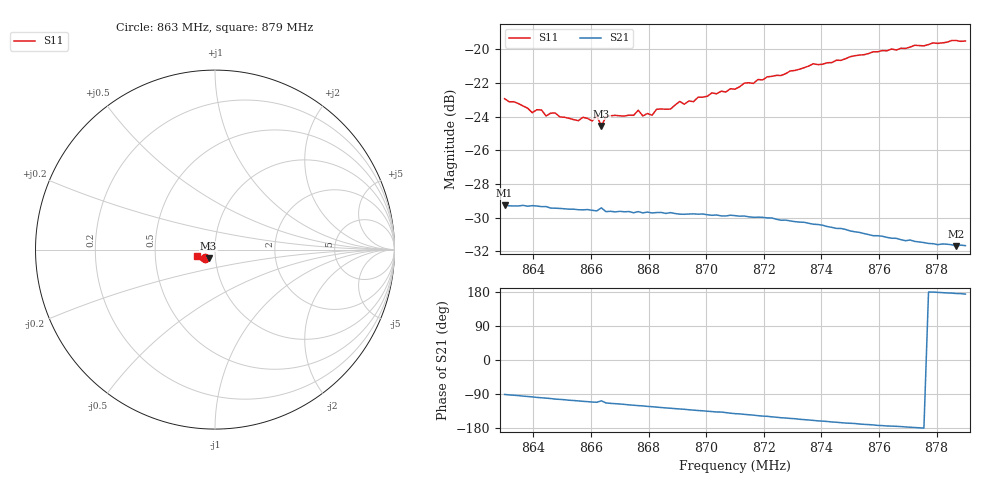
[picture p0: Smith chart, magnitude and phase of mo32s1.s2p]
# HZ S RI R 50
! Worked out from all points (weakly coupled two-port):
!   101 points, 863 MHz to 879 MHz, reference 50 ohm
!   highest |S21| = -29.26 dB at 863 MHz (marker M1); lowest = -31.7 dB at 878.68 MHz (marker M2)
!   lowest |S11| = -24.6 dB at 866.36 MHz (marker M3), VSWR 1.13, Z = 46.4 - j4.41 ohm
!   |S11| at or under -10 dB: start of sweep to end of sweep
!   S12 and S22 are empty: the file has one direction only
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8.63e8  -0.0537 -0.0469  -0.000509 -0.0344  0 0  0 0
8.6396e8  -0.0465 -0.0452  -0.00437 -0.034  0 0  0 0
8.6428e8  -0.0464 -0.047  -0.00573 -0.0336  0 0  0 0
8.6444e8  -0.046 -0.0436  -0.00629 -0.0335  0 0  0 0
8.6476e8  -0.0454 -0.046  -0.0077 -0.0328  0 0  0 0
8.6556e8  -0.0412 -0.0455  -0.0103 -0.0318  0 0  0 0
8.6572e8  -0.0416 -0.047  -0.0109 -0.0315  0 0  0 0
8.6604e8  -0.0396 -0.0467  -0.0118 -0.0311  0 0  0 0
8.662e8  -0.0414 -0.048  -0.0122 -0.0308  0 0  0 0
8.6636e8  -0.0355 -0.0473  -0.0103 -0.0322  0 0  0 0
8.6652e8  -0.0394 -0.0493  -0.013 -0.0302  0 0  0 0
8.6748e8  -0.0375 -0.0515  -0.016 -0.0285  0 0  0 0
8.6764e8  -0.0396 -0.0527  -0.0167 -0.0284  0 0  0 0
8.678e8  -0.0378 -0.0509  -0.0169 -0.028  0 0  0 0
8.6812e8  -0.0375 -0.0515  -0.0179 -0.0273  0 0  0 0
8.6844e8  -0.0394 -0.0535  -0.019 -0.0267  0 0  0 0
8.71e8  -0.0457 -0.0609  -0.0251 -0.0199  0 0  0 0
8.7132e8  -0.0474 -0.0636  -0.0257 -0.0191  0 0  0 0
8.7372e8  -0.0635 -0.0646  -0.0283 -0.0107  0 0  0 0
8.7644e8  -0.0835 -0.0553  -0.0273 -0.00263  0 0  0 0
8.7868e8  -0.0989 -0.0388  -0.0259 0.00207  0 0  0 0
8.79e8  -0.0997 -0.0356  -0.026 0.00279  0 0  0 0
